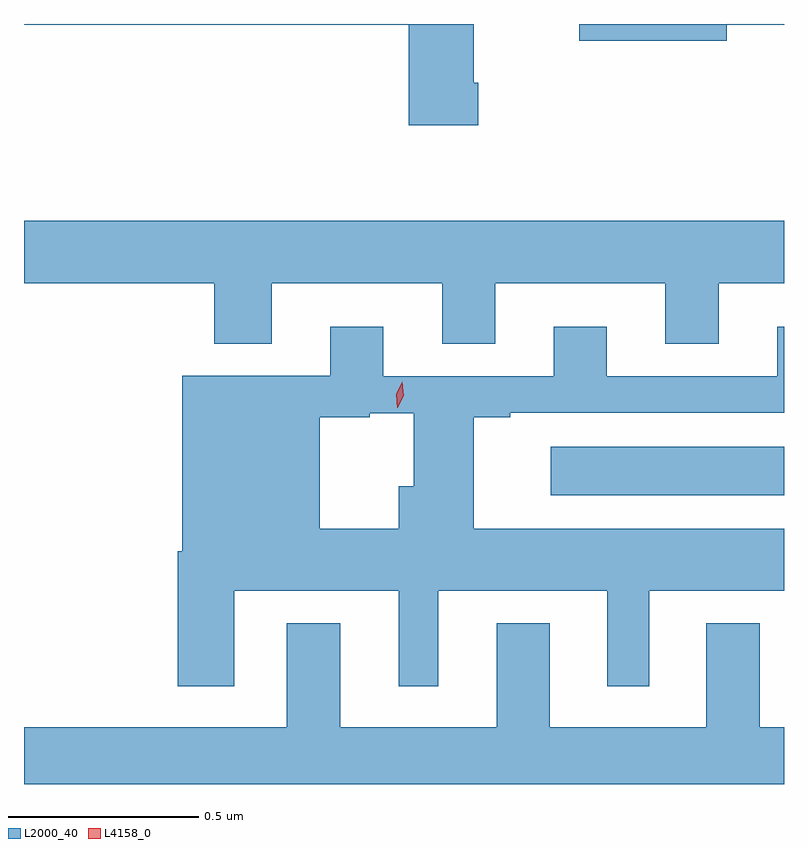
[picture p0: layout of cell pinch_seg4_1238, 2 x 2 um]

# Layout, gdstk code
import gdstk
lib = gdstk.Library(unit=1e-6, precision=1e-09)
def R(c, l, rs):  # rectangles x0, y0, x1, y1
    for r in rs: c.add(gdstk.rectangle(r[:2], r[2:], *l))
def P(c, l, *ps):  # polygons
    for p in ps: c.add(gdstk.Polygon(p, *l))
L2000_40 = (2000, 40)
L4158_0 = (4158, 0)

pinch_seg4_1238 = lib.new_cell('pinch_seg4_1238')
R(pinch_seg4_1238, L2000_40, [(373.275,808.25,373.889,808.378)])
P(pinch_seg4_1238, L2000_40, [(373.085,809.335),(373.072,809.335),(373.072,809.49),(371.889,809.49),(371.889,809.488),(372.902,809.488),(372.902,809.223),(373.085,809.223)],
  [(373.738,809.488),(373.889,809.488),(373.889,809.49),(373.35,809.49),(373.35,809.446),(373.738,809.446)],
  [(373.129,808.808),(373.577,808.808),(373.577,808.648),(373.717,808.648),(373.717,808.808),(373.889,808.808),(373.889,808.972),(371.889,808.972),(371.889,808.808),(372.389,808.808),(372.389,808.649),(372.541,808.649),(372.541,808.808),(372.989,808.808),(372.989,808.648),(373.129,808.648)],
  [(372.293,808.102),(372.293,807.747),(372.442,807.747),(372.442,807.998),(372.875,807.998),(372.875,807.747),(372.979,807.747),(372.979,807.998),(373.424,807.998),(373.424,807.747),(373.534,807.747),(373.534,807.998),(373.889,807.998),(373.889,808.162),(373.072,808.162),(373.072,808.455),(373.168,808.455),(373.168,808.467),(373.889,808.467),(373.889,808.693),(373.871,808.693),(373.871,808.563),(373.423,808.563),(373.423,808.693),(373.283,808.693),(373.283,808.563),(372.835,808.563),(372.835,808.693),(372.695,808.693),(372.695,808.564),(372.305,808.564),(372.305,808.162),(372.667,808.162),(372.667,808.455),(372.799,808.455),(372.799,808.466),(372.914,808.466),(372.914,808.273),(372.875,808.273),(372.875,808.162),(372.667,808.162),(372.305,808.162),(372.305,808.102)],
  [(373.889,807.64),(373.825,807.64),(373.825,807.913),(373.685,807.913),(373.685,807.64),(373.273,807.64),(373.273,807.913),(373.133,807.913),(373.133,807.64),(372.721,807.64),(372.721,807.913),(372.581,807.913),(372.581,807.64),(371.889,807.64),(371.889,807.49),(373.889,807.49)])
P(pinch_seg4_1238, L4158_0, [(372.871,808.48),(372.868,808.516),(372.884,808.548),(372.884,808.548),(372.885,808.548),(372.888,808.512),(372.872,808.48),(372.872,808.48)])

lib.write_gds('pinch_seg4_1238.gds')
